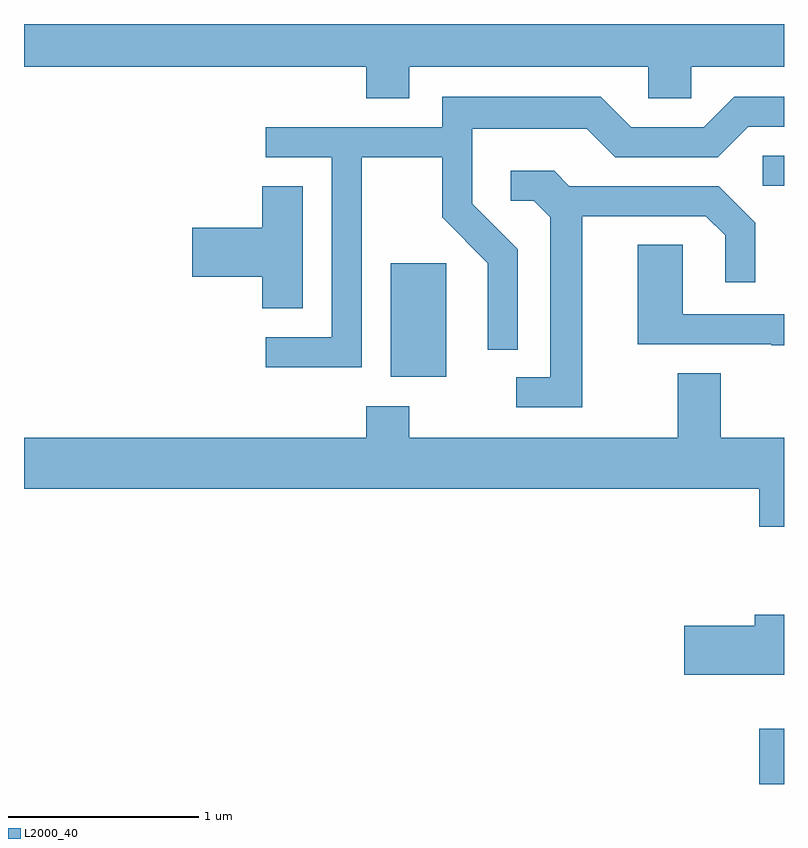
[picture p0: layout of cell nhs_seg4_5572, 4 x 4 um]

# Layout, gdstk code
import gdstk
lib = gdstk.Library(unit=1e-6, precision=1e-09)
def R(c, l, rs):  # rectangles x0, y0, x1, y1
    for r in rs: c.add(gdstk.rectangle(r[:2], r[2:], *l))
def P(c, l, *ps):  # polygons
    for p in ps: c.add(gdstk.Polygon(p, *l))
L2000_40 = (2000, 40)

nhs_seg4_5572 = lib.new_cell('nhs_seg4_5572')
R(nhs_seg4_5572, L2000_40, [(351.481,1381.982,351.611,1382.274), (349.541,1384.126,349.834,1384.724), (351.498,1385.131,351.611,1385.289)])
P(nhs_seg4_5572, L2000_40, [(347.611,1385.756),(349.411,1385.756),(349.411,1385.591),(349.639,1385.591),(349.639,1385.756),(350.896,1385.756),(350.896,1385.591),(351.124,1385.591),(351.124,1385.756),(351.611,1385.756),(351.611,1385.982),(347.611,1385.982)],
  [(349.389,1385.281),(349.811,1385.281),(349.811,1384.964),(350.051,1384.724),(350.051,1384.268),(350.209,1384.268),(350.209,1384.797),(349.969,1385.037),(349.969,1385.431),(350.574,1385.431),(350.724,1385.281),(351.262,1385.281),(351.422,1385.441),(351.611,1385.441),(351.611,1385.599),(351.349,1385.599),(351.189,1385.439),(350.807,1385.439),(350.647,1385.599),(349.811,1385.599),(349.811,1385.439),(348.883,1385.439),(348.883,1385.281),(349.231,1385.281),(349.231,1384.334),(348.883,1384.334),(348.883,1384.176),(349.389,1384.176)],
  [(350.549,1384.971),(351.199,1384.971),(351.301,1384.869),(351.301,1384.623),(351.459,1384.623),(351.459,1384.937),(351.267,1385.129),(350.482,1385.129),(350.402,1385.209),(350.173,1385.209),(350.173,1385.051),(350.294,1385.051),(350.381,1384.964),(350.381,1384.124),(350.203,1384.124),(350.203,1383.966),(350.549,1383.966)],
  [(349.079,1385.129),(348.866,1385.129),(348.866,1384.909),(348.496,1384.909),(348.496,1384.651),(348.866,1384.651),(348.866,1384.486),(349.079,1384.486)],
  [(351.611,1384.454),(351.079,1384.454),(351.079,1384.819),(350.841,1384.819),(350.841,1384.296),(351.545,1384.296),(351.545,1384.291),(351.611,1384.291)],
  [(351.611,1383.804),(351.279,1383.804),(351.279,1384.144),(351.051,1384.144),(351.051,1383.804),(349.639,1383.804),(349.639,1383.969),(349.411,1383.969),(349.411,1383.804),(347.611,1383.804),(347.611,1383.536),(351.481,1383.536),(351.481,1383.336),(351.611,1383.336)],
  [(351.611,1382.874),(351.456,1382.874),(351.456,1382.814),(351.086,1382.814),(351.086,1382.556),(351.611,1382.556)])

lib.write_gds('nhs_seg4_5572.gds')
